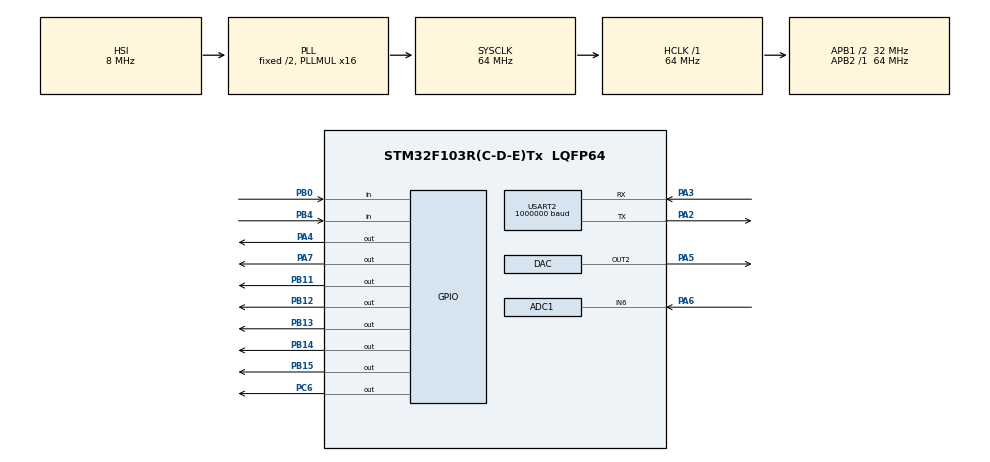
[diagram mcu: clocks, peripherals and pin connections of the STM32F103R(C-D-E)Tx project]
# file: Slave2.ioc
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ADC1.Channel-0\#ChannelRegularConversion=ADC_CHANNEL_6
ADC1.ContinuousConvMode=DISABLE
ADC1.DataAlign=ADC_DATAALIGN_RIGHT
ADC1.DiscontinuousConvMode=DISABLE
ADC1.EnableAnalogWatchDog=false
ADC1.EnableRegularConversion=ENABLE
ADC1.ExternalTrigConv=ADC_EXTERNALTRIGCONV_T8_TRGO
ADC1.InjNumberOfConversion=0
ADC1.NbrOfConversion=1
ADC1.NbrOfConversionFlag=1
ADC1.Rank-0\#ChannelRegularConversion=1
ADC1.SamplingTime-0\#ChannelRegularConversion=ADC_SAMPLETIME_28CYCLES_5
ADC1.ScanConvMode=ADC_SCAN_DISABLE
ADC1.master=1
DAC.DAC_Trigger2=DAC_TRIGGER_T8_TRGO
Dma.ADC1.0.Direction=DMA_PERIPH_TO_MEMORY
Dma.ADC1.0.Instance=DMA1_Channel1
Dma.ADC1.0.MemDataAlignment=DMA_MDATAALIGN_HALFWORD
Dma.ADC1.0.MemInc=DMA_MINC_ENABLE
Dma.ADC1.0.Mode=DMA_CIRCULAR
Dma.ADC1.0.PeriphDataAlignment=DMA_PDATAALIGN_HALFWORD
Dma.ADC1.0.PeriphInc=DMA_PINC_DISABLE
Dma.ADC1.0.Priority=DMA_PRIORITY_HIGH
Dma.DAC_CH2.3.Direction=DMA_MEMORY_TO_PERIPH
Dma.DAC_CH2.3.Instance=DMA2_Channel4
Dma.DAC_CH2.3.MemDataAlignment=DMA_MDATAALIGN_BYTE
Dma.DAC_CH2.3.MemInc=DMA_MINC_ENABLE
Dma.DAC_CH2.3.Mode=DMA_CIRCULAR
Dma.DAC_CH2.3.PeriphDataAlignment=DMA_PDATAALIGN_BYTE
Dma.DAC_CH2.3.PeriphInc=DMA_PINC_DISABLE
Dma.DAC_CH2.3.Priority=DMA_PRIORITY_HIGH
Dma.Request0=ADC1
Dma.Request1=USART2_RX
Dma.Request2=USART2_TX
Dma.Request3=DAC_CH2
Dma.USART2_RX.1.Direction=DMA_PERIPH_TO_MEMORY
Dma.USART2_RX.1.Instance=DMA1_Channel6
Dma.USART2_RX.1.MemDataAlignment=DMA_MDATAALIGN_BYTE
Dma.USART2_RX.1.MemInc=DMA_MINC_ENABLE
Dma.USART2_RX.1.Mode=DMA_NORMAL
Dma.USART2_RX.1.PeriphDataAlignment=DMA_PDATAALIGN_BYTE
Dma.USART2_RX.1.PeriphInc=DMA_PINC_DISABLE
Dma.USART2_RX.1.Priority=DMA_PRIORITY_VERY_HIGH
Dma.USART2_TX.2.Direction=DMA_MEMORY_TO_PERIPH
Dma.USART2_TX.2.Instance=DMA1_Channel7
Dma.USART2_TX.2.MemDataAlignment=DMA_MDATAALIGN_BYTE
Dma.USART2_TX.2.MemInc=DMA_MINC_ENABLE
Dma.USART2_TX.2.Mode=DMA_NORMAL
Dma.USART2_TX.2.PeriphDataAlignment=DMA_PDATAALIGN_BYTE
Dma.USART2_TX.2.PeriphInc=DMA_PINC_DISABLE
Dma.USART2_TX.2.Priority=DMA_PRIORITY_VERY_HIGH
Mcu.Family=STM32F1
Mcu.Name=STM32F103R(C-D-E)Tx
Mcu.Package=LQFP64
NVIC.DMA1_Channel1_IRQn=true\:0\:0\:false\:false\:true\:false
NVIC.DMA1_Channel6_IRQn=true\:0\:0\:false\:false\:true\:false
NVIC.DMA1_Channel7_IRQn=true\:0\:0\:false\:false\:true\:false
NVIC.DMA2_Channel4_5_IRQn=true\:0\:0\:false\:false\:true\:false
NVIC.PriorityGroup=NVIC_PRIORITYGROUP_4
NVIC.TIM2_IRQn=true\:0\:0\:false\:false\:true\:true
NVIC.USART2_IRQn=true\:0\:0\:false\:false\:true\:true
PA13.Mode=Serial_Wire
PA13.Signal=SYS_JTMS-SWDIO
PA14.Mode=Serial_Wire
PA14.Signal=SYS_JTCK-SWCLK
PA2.Mode=Asynchronous
PA2.Signal=USART2_TX
PA3.Mode=Asynchronous
PA3.Signal=USART2_RX
PA4.Signal=GPIO_Output
PA5.Signal=COMP_DAC2_group
PA6.Signal=ADCx_IN6
PA7.Signal=GPIO_Output
PB0.GPIO_PuPd=GPIO_PULLDOWN
PB0.Signal=GPIO_Input
PB11.Signal=GPIO_Output
PB12.Signal=GPIO_Output
PB13.Signal=GPIO_Output
PB14.Signal=GPIO_Output
PB15.Signal=GPIO_Output
PB4.GPIO_PuPd=GPIO_PULLDOWN
PB4.Signal=GPIO_Input
PC6.Signal=GPIO_Output
ProjectManager.HeapSize=0x200
ProjectManager.StackSize=0x400
ProjectManager.TargetToolchain=MDK-ARM V5
RCC.ADCPresc=RCC_ADCPCLK2_DIV8
RCC.AHBFreq_Value=64000000
RCC.APB1CLKDivider=RCC_HCLK_DIV2
RCC.APB1Freq_Value=32000000
RCC.APB1TimFreq_Value=64000000
RCC.APB2Freq_Value=64000000
RCC.APB2TimFreq_Value=64000000
RCC.HCLKFreq_Value=64000000
RCC.PLLMUL=RCC_PLL_MUL16
RCC.SYSCLKFreq_VALUE=64000000
RCC.SYSCLKSource=RCC_SYSCLKSOURCE_PLLCLK
RCC.USBFreq_Value=64000000
SH.ADCx_IN6.0=ADC1_IN6,IN6
SH.COMP_DAC2_group.0=DAC_OUT2,DAC_OUT2
TIM2.Period=10
TIM2.Prescaler=63999
TIM8.AutoReloadPreload=TIM_AUTORELOAD_PRELOAD_ENABLE
TIM8.Period=124
TIM8.Prescaler=63
TIM8.TIM_MasterOutputTrigger=TIM_TRGO_UPDATE
USART2.BaudRate=1000000
USART2.VirtualMode=VM_ASYNC
VP_TIM2_VS_ClockSourceINT.Mode=Internal
VP_TIM8_VS_ClockSourceINT.Mode=Internal
board=Slave2

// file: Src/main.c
/**
  ******************************************************************************
  * @file           : main.c
  * @brief          : Main program body
  ******************************************************************************
  ** This notice applies to any and all portions of this file
  * that are not between comment pairs USER CODE BEGIN and
  * USER CODE END. Other portions of this file, whether
  * inserted by the user or by software development tools
  * are owned by their respective copyright owners.
  *
  * COPYRIGHT(c) 2018 STMicroelectronics
  *
  * Redistribution and use in source and binary forms, with or without modification,
  * are permitted provided that the following conditions are met:
  *   1. Redistributions of source code must retain the above copyright notice,
  *      this list of conditions and the following disclaimer.
  *   2. Redistributions in binary form must reproduce the above copyright notice,
  *      this list of conditions and the following disclaimer in the documentation
  *      and/or other materials provided with the distribution.
  *   3. Neither the name of STMicroelectronics nor the names of its contributors
  *      may be used to endorse or promote products derived from this software
  *      without specific prior written permission.
  *
  * THIS SOFTWARE IS PROVIDED BY THE COPYRIGHT HOLDERS AND CONTRIBUTORS "AS IS"
  * AND ANY EXPRESS OR IMPLIED WARRANTIES, INCLUDING, BUT NOT LIMITED TO, THE
  * IMPLIED WARRANTIES OF MERCHANTABILITY AND FITNESS FOR A PARTICULAR PURPOSE ARE
  * DISCLAIMED. IN NO EVENT SHALL THE COPYRIGHT HOLDER OR CONTRIBUTORS BE LIABLE
  * FOR ANY DIRECT, INDIRECT, INCIDENTAL, SPECIAL, EXEMPLARY, OR CONSEQUENTIAL
  * DAMAGES (INCLUDING, BUT NOT LIMITED TO, PROCUREMENT OF SUBSTITUTE GOODS OR
  * SERVICES; LOSS OF USE, DATA, OR PROFITS; OR BUSINESS INTERRUPTION) HOWEVER
  * CAUSED AND ON ANY THEORY OF LIABILITY, WHETHER IN CONTRACT, STRICT LIABILITY,
  * OR TORT (INCLUDING NEGLIGENCE OR OTHERWISE) ARISING IN ANY WAY OUT OF THE USE
  * OF THIS SOFTWARE, EVEN IF ADVISED OF THE POSSIBILITY OF SUCH DAMAGE.
  *
  ******************************************************************************
  */
#include "main.h"
#include "stm32f1xx_hal.h"
#include "adc.h"
#include "dac.h"
#include "dma.h"
#include "tim.h"
#include "usart.h"
#include "gpio.h"

/* USER CODE BEGIN Includes */
#include "Slave.h"

#define ADC_pin	GPIO_PIN_15
#define DAC_pin	GPIO_PIN_12
#define RX_pin	GPIO_PIN_13
#define TX_pin	GPIO_PIN_14
/* USER CODE END Includes */

/* USER CODE BEGIN PV */
/* Private variables ---------------------------------------------------------*/
uint8_t state_pck;
uint8_t temp_TIM2=0;
/* USER CODE END PV */

void SystemClock_Config(void);

/* USER CODE BEGIN PFP */
/* Private function prototypes -----------------------------------------------*/
void HAL_UART_TxCpltCallback(UART_HandleTypeDef *huart);
void HAL_UART_RxCpltCallback(UART_HandleTypeDef *huart);
void HAL_ADC_ConvCpltCallback(ADC_HandleTypeDef* hadc);
void HAL_TIM_PeriodElapsedCallback(TIM_HandleTypeDef *htim);
void HAL_DACEx_ConvCpltCallbackCh2(DAC_HandleTypeDef* hdac11);
/* USER CODE END PFP */

int main(void)
{

  /* MCU Configuration----------------------------------------------------------*/

  /* Reset of all peripherals, Initializes the Flash interface and the Systick. */
  HAL_Init();

  /* Configure the system clock */
  SystemClock_Config();

  /* Initialize all configured peripherals */
  MX_GPIO_Init();
  MX_DMA_Init();
  MX_USART2_UART_Init();
  MX_TIM2_Init();
  MX_ADC1_Init();
  MX_DAC_Init();
  MX_TIM8_Init();

  /* Infinite loop */
  /* USER CODE BEGIN WHILE */
	Slave_Init(10);

	HAL_GPIO_WritePin(GPIOB,ADC_pin,GPIO_PIN_RESET);
	HAL_GPIO_WritePin(GPIOB,DAC_pin,GPIO_PIN_RESET);
	HAL_GPIO_WritePin(GPIOB,RX_pin,GPIO_PIN_RESET);
	HAL_GPIO_WritePin(GPIOB,TX_pin,GPIO_PIN_RESET);

	while (1)
  {
		HAL_Delay(1);
	/* USER CODE END WHILE */

  }

}

void SystemClock_Config(void)
{

  RCC_OscInitTypeDef RCC_OscInitStruct;
  RCC_ClkInitTypeDef RCC_ClkInitStruct;
  RCC_PeriphCLKInitTypeDef PeriphClkInit;

    /**Initializes the CPU, AHB and APB busses clocks
    */
  RCC_OscInitStruct.OscillatorType = RCC_OSCILLATORTYPE_HSI;
  RCC_OscInitStruct.HSIState = RCC_HSI_ON;
  RCC_OscInitStruct.HSICalibrationValue = 16;
  RCC_OscInitStruct.PLL.PLLState = RCC_PLL_ON;
  RCC_OscInitStruct.PLL.PLLSource = RCC_PLLSOURCE_HSI_DIV2;
  RCC_OscInitStruct.PLL.PLLMUL = RCC_PLL_MUL16;
  if (HAL_RCC_OscConfig(&RCC_OscInitStruct) != HAL_OK)
  {
    _Error_Handler(__FILE__, __LINE__);
  }

    /**Initializes the CPU, AHB and APB busses clocks
    */
  RCC_ClkInitStruct.ClockType = RCC_CLOCKTYPE_HCLK|RCC_CLOCKTYPE_SYSCLK
                              |RCC_CLOCKTYPE_PCLK1|RCC_CLOCKTYPE_PCLK2;
  RCC_ClkInitStruct.SYSCLKSource = RCC_SYSCLKSOURCE_PLLCLK;
  RCC_ClkInitStruct.AHBCLKDivider = RCC_SYSCLK_DIV1;
  RCC_ClkInitStruct.APB1CLKDivider = RCC_HCLK_DIV2;
  RCC_ClkInitStruct.APB2CLKDivider = RCC_HCLK_DIV1;

  if (HAL_RCC_ClockConfig(&RCC_ClkInitStruct, FLASH_LATENCY_2) != HAL_OK)
  {
    _Error_Handler(__FILE__, __LINE__);
  }

  PeriphClkInit.PeriphClockSelection = RCC_PERIPHCLK_ADC;
  PeriphClkInit.AdcClockSelection = RCC_ADCPCLK2_DIV8;
  if (HAL_RCCEx_PeriphCLKConfig(&PeriphClkInit) != HAL_OK)
  {
    _Error_Handler(__FILE__, __LINE__);
  }

    /**Configure the Systick interrupt time
    */
  HAL_SYSTICK_Config(HAL_RCC_GetHCLKFreq()/1000);

    /**Configure the Systick
    */
  HAL_SYSTICK_CLKSourceConfig(SYSTICK_CLKSOURCE_HCLK);

  /* SysTick_IRQn interrupt configuration */
  HAL_NVIC_SetPriority(SysTick_IRQn, 0, 0);
}

/* USER CODE BEGIN 4 */
void HAL_UART_RxCpltCallback(UART_HandleTypeDef *huart){
	switch(slave.state){
		case WAITING_PCK:
			state_pck= GetNewData(buff_1byte);

			if(state_pck==PCK_With_Me){
				Send_PCK(slave.pck.DIST_PCK.func,slave.pck.DIST_PCK.data1,
				slave.pck.DIST_PCK.data2,slave.pck.DIST_PCK.data3,slave.pck.DIST_PCK.data4);

				HAL_GPIO_WritePin(GPIOB,TX_pin,GPIO_PIN_SET);

				slave.pck.DIST_PCK.func=Normal_conv;
				slave.state=SENDING_HELLO;
			}
			else if(state_pck==PCK_REQ_SP_ME){
				if(slave.call_flag==FLAG_DISABLE)Make_Call(adcBuff,uart_audio_buff);

				//timer start
				HAL_TIM_Base_Stop_IT(&Timeout_Timer);
				HAL_TIM_Base_Start_IT(&Timeout_Timer);
				Timeout_Timer.Instance->CNT=0;

				HAL_UART_Receive_DMA(&Slave_Uart,uart_audio_buff+Date_Per_100ms*slave.rx_p,Date_Per_100ms);
				HAL_GPIO_WritePin(GPIOB,RX_pin,GPIO_PIN_SET);

				slave.state=GETTING_AUDIO;
			}
			else{
				HAL_UART_Abort(&Slave_Uart);
				HAL_UART_Receive_IT(&Slave_Uart,&buff_1byte,1);
			}
			break;

		case GETTING_AUDIO:

			// timer end
			HAL_TIM_Base_Stop_IT(&Timeout_Timer);
			Timeout_Timer.Instance->CNT=0;

			uint8_t jj=0;
			if(slave.adc_p==0)jj=1;

			HAL_GPIO_WritePin(GPIOB,RX_pin,GPIO_PIN_RESET);
			HAL_GPIO_WritePin(GPIOB,TX_pin,GPIO_PIN_SET);

			Send_Audio(adc_audio_buff+Date_Per_100ms*jj,Date_Per_100ms);
			slave.rx_flag=FLAG_ENABLE;

			slave.state=SENDING_AUDIO;
			break;

		default :
			HAL_UART_Abort(&Slave_Uart);
			HAL_UART_Receive_IT(&Slave_Uart,&buff_1byte,1);
	}
}

void HAL_UART_TxCpltCallback(UART_HandleTypeDef *huart){

	HAL_GPIO_WritePin(GPIOB,TX_pin,GPIO_PIN_RESET);

	HAL_GPIO_WritePin(RS485_GPIO_PORT,RS485_GPIO_PIN,GPIO_PIN_RESET);
	slave.state=WAITING_PCK;
	HAL_UART_Abort(&Slave_Uart);
	HAL_UART_Receive_IT(&Slave_Uart,&buff_1byte,1);
}

void HAL_TIM_PeriodElapsedCallback(TIM_HandleTypeDef *htim){
	if(htim->Instance==TIM2 && temp_TIM2!=0){
		HAL_TIM_Base_Stop_IT(&Timeout_Timer);
		Timeout_Timer.Instance->CNT=0;

		slave.rx_flag=FLAG_ENABLE;

		uint8_t jj=0;
		if(slave.adc_p==0)jj=1;

		HAL_GPIO_WritePin(GPIOB,RX_pin,GPIO_PIN_RESET);
		HAL_GPIO_WritePin(GPIOB,TX_pin,GPIO_PIN_SET);
		HAL_GPIO_TogglePin(GPIOB,GPIO_PIN_11);

		Send_Audio(adc_audio_buff+Date_Per_100ms*jj,Date_Per_100ms);

		slave.state=SENDING_AUDIO;
	}
	else if(temp_TIM2==0)temp_TIM2=1;
}

void HAL_ADC_ConvCpltCallback(ADC_HandleTypeDef* hadc){
//	HAL_ADC_Stop_DMA(&hadc1);
//	HAL_ADC_Start_DMA(&hadc1,(uint32_t *)(adcBuff),Date_Per_100ms);
	HAL_GPIO_TogglePin(GPIOB,ADC_pin);

	uint8_t jj=slave.adc_p;
	if(slave.adc_p==0)slave.adc_p=1;
	else slave.adc_p=0;

	for(int ii=0;ii<Date_Per_100ms;ii++)adc_audio_buff[jj*Date_Per_100ms+ii]=adcBuff[ii]>>4;

	// check every 100 ms bejaye timer 100ms
	if(slave.call_flag==FLAG_ENABLE && slave.rx_flag==FLAG_ENABLE && slave.start_call_flag==FLAG_ENABLE){
		slave.start_call_flag=FLAG_DISABLE;

		uint8_t jj=0;
		if(slave.rx_p==0)jj=1;

		//HAL_GPIO_TogglePin(GPIOB,GPIO_PIN_11);

		HAL_DAC_Start_DMA(&hdac,DAC_CHANNEL_2,(uint32_t *)uart_audio_buff,2*Date_Per_100ms,DAC_ALIGN_8B_R);
	}
	else if(slave.call_flag==FLAG_DISABLE)HAL_DAC_Stop_DMA(&hdac,DAC_CHANNEL_2);
}

void HAL_DACEx_ConvCpltCallbackCh2(DAC_HandleTypeDef* hdac11){

	HAL_GPIO_TogglePin(GPIOB,DAC_pin);

//	HAL_GPIO_TogglePin(GPIOB,GPIO_PIN_11);

//	HAL_DAC_Stop_DMA(&hdac,DAC_CHANNEL_2);
//
//	uint8_t jj=0;
//	if(slave.rx_p==0)jj=1;
//
//	HAL_DAC_Start_DMA(&hdac,DAC_CHANNEL_2,(uint32_t *)uart_audio_buff+jj*Date_Per_100ms,Date_Per_100ms,DAC_ALIGN_8B_R);
}
/* USER CODE END 4 */

void _Error_Handler(char *file, int line)
{
  while(1)
  {
  }
}

/************************ (C) COPYRIGHT STMicroelectronics *****END OF FILE****/
